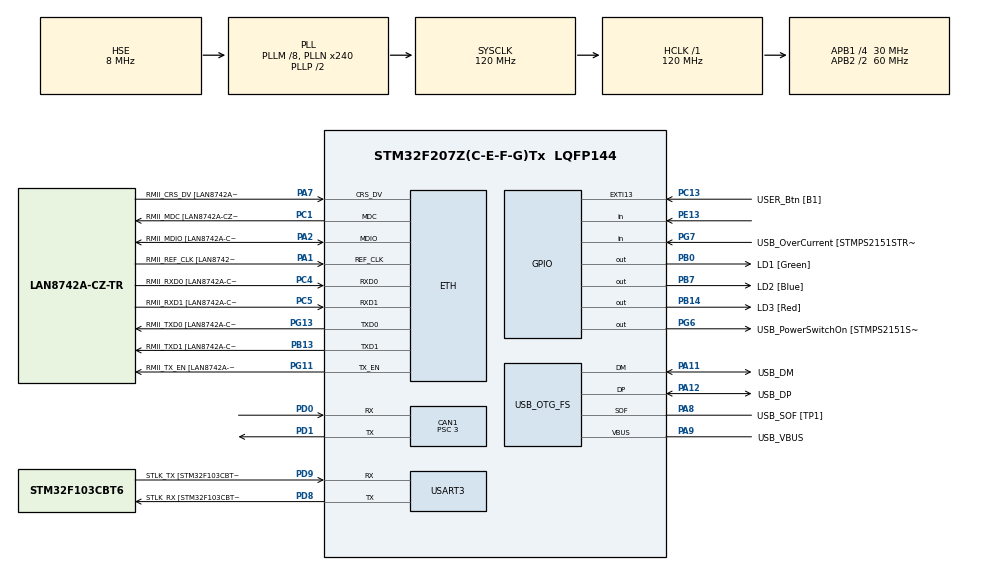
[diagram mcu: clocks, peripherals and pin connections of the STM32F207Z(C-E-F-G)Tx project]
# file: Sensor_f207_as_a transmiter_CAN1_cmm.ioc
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CAN1.ABOM=ENABLE
CAN1.BS1=CAN_BS1_16TQ
CAN1.BS2=CAN_BS2_3TQ
CAN1.CalculateBaudRate=500000
CAN1.CalculateTimeBit=2000
CAN1.CalculateTimeQuantum=100.0
CAN1.NART=ENABLE
CAN1.Prescaler=3
ETH.MediaInterface=ETH_MEDIA_INTERFACE_RMII
ETH.PHY_Name=LAN8742A_PHY_ADDRESS
ETH.PHY_Value=0
ETH.PhyAddress=0
Mcu.Family=STM32F2
Mcu.Name=STM32F207Z(C-E-F-G)Tx
Mcu.Package=LQFP144
NVIC.CAN1_TX_IRQn=true\:0\:0\:false\:false\:true\:true\:true\:true
NVIC.PriorityGroup=NVIC_PRIORITYGROUP_4
PA1.GPIO_Label=RMII_REF_CLK [LAN8742A-CZ-TR_REFCLK0]
PA1.Mode=RMII
PA1.Signal=ETH_REF_CLK
PA10.GPIO_Label=USB_ID
PA10.Signal=USB_OTG_FS_ID
PA11.GPIO_Label=USB_DM
PA11.Mode=Device_Only
PA11.Signal=USB_OTG_FS_DM
PA12.GPIO_Label=USB_DP
PA12.Mode=Device_Only
PA12.Signal=USB_OTG_FS_DP
PA13.GPIO_Label=TMS
PA13.Mode=Serial_Wire
PA13.Signal=SYS_JTMS-SWDIO
PA14.GPIO_Label=TCK
PA14.Mode=Serial_Wire
PA14.Signal=SYS_JTCK-SWCLK
PA2.GPIO_Label=RMII_MDIO [LAN8742A-CZ-TR_MDIO]
PA2.Mode=RMII
PA2.Signal=ETH_MDIO
PA7.GPIO_Label=RMII_CRS_DV [LAN8742A-CZ-TR_CRS_DV]
PA7.Mode=RMII
PA7.Signal=ETH_CRS_DV
PA8.GPIO_Label=USB_SOF [TP1]
PA8.Mode=Activate_SOF_FS
PA8.Signal=USB_OTG_FS_SOF
PA9.GPIO_Label=USB_VBUS
PA9.Mode=Activate_VBUS
PA9.Signal=USB_OTG_FS_VBUS
PB0.GPIO_Label=LD1 [Green]
PB0.Signal=GPIO_Output
PB13.GPIO_Label=RMII_TXD1 [LAN8742A-CZ-TR_TXD1]
PB13.Mode=RMII
PB13.Signal=ETH_TXD1
PB14.GPIO_Label=LD3 [Red]
PB14.Signal=GPIO_Output
PB3.GPIO_Label=SWO
PB3.Signal=SYS_JTDO-SWO
PB7.GPIO_Label=LD2 [Blue]
PB7.Signal=GPIO_Output
PC1.GPIO_Label=RMII_MDC [LAN8742A-CZ-TR_MDC]
PC1.Mode=RMII
PC1.Signal=ETH_MDC
PC13.GPIO_Label=USER_Btn [B1]
PC13.Signal=GPXTI13
PC14-OSC32_IN.Mode=LSE-External-Oscillator
PC14-OSC32_IN.Signal=RCC_OSC32_IN
PC15-OSC32_OUT.Mode=LSE-External-Oscillator
PC15-OSC32_OUT.Signal=RCC_OSC32_OUT
PC4.GPIO_Label=RMII_RXD0 [LAN8742A-CZ-TR_RXD0]
PC4.Mode=RMII
PC4.Signal=ETH_RXD0
PC5.GPIO_Label=RMII_RXD1 [LAN8742A-CZ-TR_RXD1]
PC5.Mode=RMII
PC5.Signal=ETH_RXD1
PD0.Mode=CAN_Activate
PD0.Signal=CAN1_RX
PD1.Mode=CAN_Activate
PD1.Signal=CAN1_TX
PD8.GPIO_Label=STLK_RX [STM32F103CBT6_PA2]
PD8.Mode=Asynchronous
PD8.Signal=USART3_TX
PD9.GPIO_Label=STLK_TX [STM32F103CBT6_PA3]
PD9.Mode=Asynchronous
PD9.Signal=USART3_RX
PE13.GPIO_PuPd=GPIO_PULLUP
PE13.Signal=GPIO_Input
PG11.GPIO_Label=RMII_TX_EN [LAN8742A-CZ-TR_TXEN]
PG11.Mode=RMII
PG11.Signal=ETH_TX_EN
PG13.GPIO_Label=RMII_TXD0 [LAN8742A-CZ-TR_TXD0]
PG13.Mode=RMII
PG13.Signal=ETH_TXD0
PG6.GPIO_Label=USB_PowerSwitchOn [STMPS2151STR_EN]
PG6.Signal=GPIO_Output
PG7.GPIO_Label=USB_OverCurrent [STMPS2151STR_FAULT]
PG7.Signal=GPIO_Input
PH0-OSC_IN.GPIO_Label=MCO [STM32F103CBT6_PA8]
PH0-OSC_IN.Mode=HSE-External-Clock-Source
PH0-OSC_IN.Signal=RCC_OSC_IN
PH1-OSC_OUT.Mode=HSE-External-Clock-Source
PH1-OSC_OUT.Signal=RCC_OSC_OUT
ProjectManager.HeapSize=0x200
ProjectManager.StackSize=0x400
ProjectManager.TargetToolchain=STM32CubeIDE
RCC.48MHZClocksFreq_Value=48000000
RCC.AHBFreq_Value=120000000
RCC.APB1CLKDivider=RCC_HCLK_DIV4
RCC.APB1Freq_Value=30000000
RCC.APB1TimFreq_Value=60000000
RCC.APB2CLKDivider=RCC_HCLK_DIV2
RCC.APB2Freq_Value=60000000
RCC.APB2TimFreq_Value=120000000
RCC.CortexFreq_Value=120000000
RCC.HCLKFreq_Value=120000000
RCC.HSE_VALUE=8000000
RCC.HSI_VALUE=16000000
RCC.PLLM=8
RCC.PLLMUL=RCC_PLL_MUL9
RCC.PLLN=240
RCC.PLLQ=5
RCC.PLLSourceVirtual=RCC_PLLSOURCE_HSE
RCC.PRESCALERUSB=RCC_USBCLKSOURCE_PLL_DIV1_5
RCC.SYSCLKFreq_VALUE=120000000
RCC.SYSCLKSource=RCC_SYSCLKSOURCE_PLLCLK
RCC.SYSCLKSourceVirtual=RCC_SYSCLKSOURCE_PLLCLK
RCC.USBFreq_Value=48000000
RCC.VCOOutputFreq_Value=240000000
TIM3.Prescaler=59
USART3.VirtualMode=VM_ASYNC
USB_OTG_FS.VirtualMode=Device_Only
VP_TIM3_VS_ClockSourceINT.Mode=Internal
board=NUCLEO-F207ZG

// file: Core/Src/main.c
/* USER CODE BEGIN Header */
/**
  ******************************************************************************
  * @file           : main.c
  * @brief          : Main program body
  ******************************************************************************
  * @attention
  *
  * Copyright (c) 2026 STMicroelectronics.
  * All rights reserved.
  *
  * This software is licensed under terms that can be found in the LICENSE file
  * in the root directory of this software component.
  * If no LICENSE file comes with this software, it is provided AS-IS.
  *
  ******************************************************************************
  */
/* USER CODE END Header */
#include "main.h"

/* USER CODE BEGIN Includes */
#include <stdio.h>
#include <string.h>
/* USER CODE END Includes */

/* USER CODE BEGIN PD */
#define Sensor_data_Pin GPIO_PIN_13
#define Sensor_data_GPIO_Port GPIOE

/* USER CODE END PD */

CAN_HandleTypeDef hcan1;

ETH_HandleTypeDef heth;

TIM_HandleTypeDef htim3;

UART_HandleTypeDef huart3;

PCD_HandleTypeDef hpcd_USB_OTG_FS;

void SystemClock_Config(void);
static void MX_GPIO_Init(void);
static void MX_ETH_Init(void);
static void MX_USART3_UART_Init(void);
static void MX_USB_OTG_FS_PCD_Init(void);
static void MX_CAN1_Init(void);
static void MX_TIM3_Init(void);

/* USER CODE BEGIN 0 */

uint8_t dht_data[5];
float temperature = 0;
float humidity = 0;
int16_t temp=0;
int16_t hum=0;
uint8_t TxData[4];

void delay_us(uint16_t us)
{
    __HAL_TIM_SET_COUNTER(&htim3, 0);
    while (__HAL_TIM_GET_COUNTER(&htim3) < us);
}

/* ---- Change PE13 Mode ---- */
void Set_Pin_Output(void)
{
    GPIO_InitTypeDef GPIO_InitStruct = {0};
    GPIO_InitStruct.Pin = Sensor_data_Pin;
    GPIO_InitStruct.Mode = GPIO_MODE_OUTPUT_OD;   // Open Drain
    GPIO_InitStruct.Pull = GPIO_NOPULL;           // IMPORTANT
    GPIO_InitStruct.Speed = GPIO_SPEED_FREQ_LOW;
    HAL_GPIO_Init(Sensor_data_GPIO_Port, &GPIO_InitStruct);
}

void Set_Pin_Input(void)
{
    GPIO_InitTypeDef GPIO_InitStruct = {0};
    GPIO_InitStruct.Pin = Sensor_data_Pin;
    GPIO_InitStruct.Mode = GPIO_MODE_INPUT;
    GPIO_InitStruct.Pull =   GPIO_NOPULL;
    HAL_GPIO_Init(Sensor_data_GPIO_Port, &GPIO_InitStruct);
}

/* ---- DHT22 Start ---- */
uint8_t DHT22_Start(void)
{
    uint8_t response = 0;
    uint32_t timeout;

    /* MCU pulls line LOW for 1-2ms */
    Set_Pin_Output();
    HAL_GPIO_WritePin(GPIOE, Sensor_data_Pin, GPIO_PIN_RESET);
    HAL_Delay(2);

    /* Release line */
    HAL_GPIO_WritePin(GPIOE, Sensor_data_Pin, GPIO_PIN_SET);
    delay_us(40);

    Set_Pin_Input();

    /* 1️⃣ Wait for sensor to pull LOW */
    timeout = 100000;
    while (HAL_GPIO_ReadPin(GPIOE, Sensor_data_Pin))
    {
        if (--timeout == 0) return 0;
    }

    /* 2️⃣ Wait for sensor to pull HIGH */
    timeout = 100000;
    while (!HAL_GPIO_ReadPin(GPIOE, Sensor_data_Pin))
    {
        if (--timeout == 0) return 0;
    }

    response = 1;

    return response;
}

/* ---- Read Byte ---- */
uint8_t DHT22_Read(void)
{
    uint8_t i, result = 0;
    uint32_t width;
    uint32_t timeout;

    for (i = 0; i < 8; i++)
    {
        /* Wait for LOW */
        timeout = 100000;
        while (HAL_GPIO_ReadPin(Sensor_data_GPIO_Port, Sensor_data_Pin))
        {
            if (--timeout == 0) return 0;
        }

        /* Wait for HIGH */
        timeout = 100000;
        while (!HAL_GPIO_ReadPin(Sensor_data_GPIO_Port, Sensor_data_Pin))
        {
            if (--timeout == 0) return 0;
        }

        /* Measure HIGH width */
        __HAL_TIM_SET_COUNTER(&htim3, 0);

        timeout = 100000;
        while (HAL_GPIO_ReadPin(Sensor_data_GPIO_Port, Sensor_data_Pin))
        {
            if (--timeout == 0) break;
        }

        width = __HAL_TIM_GET_COUNTER(&htim3);

        if (width > 40)   // threshold
        {
            result |= (1 << (7 - i));
        }
    }

    return result;
}
/* USER CODE END 0 */

int main(void)
{

  /* MCU Configuration--------------------------------------------------------*/

  /* Reset of all peripherals, Initializes the Flash interface and the Systick. */
  HAL_Init();

  /* Configure the system clock */
  SystemClock_Config();

  /* Initialize all configured peripherals */
  MX_GPIO_Init();
  //MX_ETH_Init();
  MX_USART3_UART_Init();
  MX_USB_OTG_FS_PCD_Init();
  MX_CAN1_Init();
  MX_TIM3_Init();
  /* USER CODE BEGIN 2 */

  HAL_TIM_Base_Start(&htim3);

  HAL_UART_Transmit(&huart3,
                    (uint8_t*)"UART Working\r\n",
                    15,
                    100);

  /* Configure CAN Filter */
  CAN_FilterTypeDef filter;

  filter.FilterBank = 0;
  filter.FilterMode = CAN_FILTERMODE_IDMASK;
  filter.FilterScale = CAN_FILTERSCALE_32BIT;
  filter.FilterIdHigh = 0x0000;
  filter.FilterIdLow = 0x0000;
  filter.FilterMaskIdHigh = 0x0000;
  filter.FilterMaskIdLow = 0x0000;
  filter.FilterFIFOAssignment = CAN_FILTER_FIFO0;
  filter.FilterActivation = ENABLE;

  HAL_CAN_ConfigFilter(&hcan1, &filter);

  HAL_CAN_Start(&hcan1);     // start CAN

  HAL_CAN_ActivateNotification(&hcan1,
      CAN_IT_TX_MAILBOX_EMPTY);

  /* USER CODE END 2 */

  /* Infinite loop */
  while (1)
  {

    /* USER CODE BEGIN 3 */

	  if (DHT22_Start())
	      {

		  HAL_UART_Transmit(&huart3,
		  (uint8_t*)"Start OK\r\n", 10, 100);

	          for (int i = 0; i < 5; i++)
	              dht_data[i] = DHT22_Read();

	          /* ===== ADD DEBUG PRINT HERE ===== */

	          char debugBuf[100];

	          sprintf(debugBuf,
	                  "RAW: %d %d %d %d %d\r\n",
	                  dht_data[0],
	                  dht_data[1],
	                  dht_data[2],
	                  dht_data[3],
	                  dht_data[4]);

	          HAL_UART_Transmit(&huart3,
	                            (uint8_t*)debugBuf,
	                            strlen(debugBuf),
	                            100);

	          /* CHECKSUM VALIDATION */
	          uint8_t sum = dht_data[0] + dht_data[1] + dht_data[2] + dht_data[3];

	          	  if (dht_data[4] == sum)

	             {
	                 humidity = ((dht_data[0] << 8) | dht_data[1]) * 0.1;
	                 temperature = ((dht_data[2] << 8) | dht_data[3]) * 0.1;
	             }
	             else
	             {
	                 HAL_UART_Transmit(&huart3,
	                     (uint8_t*)"Checksum Error\r\n", 16, 100);
	             }

	          /* ---- ADD THIS UART PRINT BLOCK HERE ---- */

	          char uartBuffer[60];

	          sprintf(uartBuffer, "Temp = %.1f C  |  Hum = %.1f %%\r\n",
	                  temperature, humidity);

	          HAL_UART_Transmit(&huart3,
	                            (uint8_t*)uartBuffer,
	                            strlen(uartBuffer),
	                            100);

	          /* ---- Send via CAN ---- */
	          /* -------- Send Temperature -------- */

	              CAN_TxHeaderTypeDef TxHeader;
	              uint32_t TxMailbox;
	              //uint8_t TxData[4];

	              TxHeader.StdId = 0x123;
	              TxHeader.IDE = CAN_ID_STD;
	              TxHeader.RTR = CAN_RTR_DATA;
	              TxHeader.DLC = 4;
	              TxHeader.TransmitGlobalTime = DISABLE;

	              temp = temperature * 10;
	              hum  = humidity * 10;

	              TxData[0] = temp >> 8;
	              TxData[1] = temp;
	              TxData[2] = hum >> 8;
	              TxData[3] = hum;

	              if (HAL_CAN_GetTxMailboxesFreeLevel(&hcan1) > 0)
	              {
	                  HAL_CAN_AddTxMessage(&hcan1, &TxHeader, TxData, &TxMailbox);
	              }

	      HAL_Delay(5000);   // DHT22 requires 2 sec delay
	      }
	  else
	  	  {
	  	      HAL_UART_Transmit(&huart3,
	  	          (uint8_t*)"Start FAIL\r\n", 12, 100);
	  	  }
  }
  /* USER CODE END 3 */
}

void SystemClock_Config(void)
{
  RCC_OscInitTypeDef RCC_OscInitStruct = {0};
  RCC_ClkInitTypeDef RCC_ClkInitStruct = {0};

  /** Initializes the RCC Oscillators according to the specified parameters
  * in the RCC_OscInitTypeDef structure.
  */
  RCC_OscInitStruct.OscillatorType = RCC_OSCILLATORTYPE_HSE;
  RCC_OscInitStruct.HSEState = RCC_HSE_BYPASS;
  RCC_OscInitStruct.PLL.PLLState = RCC_PLL_ON;
  RCC_OscInitStruct.PLL.PLLSource = RCC_PLLSOURCE_HSE;
  RCC_OscInitStruct.PLL.PLLM = 8;
  RCC_OscInitStruct.PLL.PLLN = 240;
  RCC_OscInitStruct.PLL.PLLP = RCC_PLLP_DIV2;
  RCC_OscInitStruct.PLL.PLLQ = 5;
  if (HAL_RCC_OscConfig(&RCC_OscInitStruct) != HAL_OK)
  {
    Error_Handler();
  }

  /** Initializes the CPU, AHB and APB buses clocks
  */
  RCC_ClkInitStruct.ClockType = RCC_CLOCKTYPE_HCLK|RCC_CLOCKTYPE_SYSCLK
                              |RCC_CLOCKTYPE_PCLK1|RCC_CLOCKTYPE_PCLK2;
  RCC_ClkInitStruct.SYSCLKSource = RCC_SYSCLKSOURCE_PLLCLK;
  RCC_ClkInitStruct.AHBCLKDivider = RCC_SYSCLK_DIV1;
  RCC_ClkInitStruct.APB1CLKDivider = RCC_HCLK_DIV4;
  RCC_ClkInitStruct.APB2CLKDivider = RCC_HCLK_DIV2;

  if (HAL_RCC_ClockConfig(&RCC_ClkInitStruct, FLASH_LATENCY_3) != HAL_OK)
  {
    Error_Handler();
  }
}

static void MX_CAN1_Init(void)
{

  hcan1.Instance = CAN1;
  hcan1.Init.Prescaler = 3;
  hcan1.Init.Mode = CAN_MODE_NORMAL;
  hcan1.Init.SyncJumpWidth = CAN_SJW_1TQ;
  hcan1.Init.TimeSeg1 = CAN_BS1_16TQ;
  hcan1.Init.TimeSeg2 = CAN_BS2_3TQ;
  hcan1.Init.TimeTriggeredMode = DISABLE;
  hcan1.Init.AutoBusOff = ENABLE;
  hcan1.Init.AutoWakeUp = DISABLE;
  hcan1.Init.AutoRetransmission = ENABLE;
  hcan1.Init.ReceiveFifoLocked = DISABLE;
  hcan1.Init.TransmitFifoPriority = DISABLE;
  if (HAL_CAN_Init(&hcan1) != HAL_OK)
  {
    Error_Handler();
  }

}

static void MX_ETH_Init(void)
{

   static uint8_t MACAddr[6];

  heth.Instance = ETH;
  heth.Init.AutoNegotiation = ETH_AUTONEGOTIATION_ENABLE;
  heth.Init.Speed = ETH_SPEED_100M;
  heth.Init.DuplexMode = ETH_MODE_FULLDUPLEX;
  heth.Init.PhyAddress = LAN8742A_PHY_ADDRESS;
  MACAddr[0] = 0x00;
  MACAddr[1] = 0x80;
  MACAddr[2] = 0xE1;
  MACAddr[3] = 0x00;
  MACAddr[4] = 0x00;
  MACAddr[5] = 0x00;
  heth.Init.MACAddr = &MACAddr[0];
  heth.Init.RxMode = ETH_RXPOLLING_MODE;
  heth.Init.ChecksumMode = ETH_CHECKSUM_BY_HARDWARE;
  heth.Init.MediaInterface = ETH_MEDIA_INTERFACE_RMII;

  if (HAL_ETH_Init(&heth) != HAL_OK)
  {
    Error_Handler();
  }

}

static void MX_TIM3_Init(void)
{

  TIM_ClockConfigTypeDef sClockSourceConfig = {0};
  TIM_MasterConfigTypeDef sMasterConfig = {0};

  htim3.Instance = TIM3;
  htim3.Init.Prescaler = 59;
  htim3.Init.CounterMode = TIM_COUNTERMODE_UP;
  htim3.Init.Period = 65535;
  htim3.Init.ClockDivision = TIM_CLOCKDIVISION_DIV1;
  htim3.Init.AutoReloadPreload = TIM_AUTORELOAD_PRELOAD_DISABLE;
  if (HAL_TIM_Base_Init(&htim3) != HAL_OK)
  {
    Error_Handler();
  }
  sClockSourceConfig.ClockSource = TIM_CLOCKSOURCE_INTERNAL;
  if (HAL_TIM_ConfigClockSource(&htim3, &sClockSourceConfig) != HAL_OK)
  {
    Error_Handler();
  }
  sMasterConfig.MasterOutputTrigger = TIM_TRGO_RESET;
  sMasterConfig.MasterSlaveMode = TIM_MASTERSLAVEMODE_DISABLE;
  if (HAL_TIMEx_MasterConfigSynchronization(&htim3, &sMasterConfig) != HAL_OK)
  {
    Error_Handler();
  }

}

static void MX_USART3_UART_Init(void)
{

  huart3.Instance = USART3;
  huart3.Init.BaudRate = 115200;
  huart3.Init.WordLength = UART_WORDLENGTH_8B;
  huart3.Init.StopBits = UART_STOPBITS_1;
  huart3.Init.Parity = UART_PARITY_NONE;
  huart3.Init.Mode = UART_MODE_TX_RX;
  huart3.Init.HwFlowCtl = UART_HWCONTROL_NONE;
  huart3.Init.OverSampling = UART_OVERSAMPLING_16;
  if (HAL_UART_Init(&huart3) != HAL_OK)
  {
    Error_Handler();
  }

}

static void MX_USB_OTG_FS_PCD_Init(void)
{

  hpcd_USB_OTG_FS.Instance = USB_OTG_FS;
  hpcd_USB_OTG_FS.Init.dev_endpoints = 4;
  hpcd_USB_OTG_FS.Init.speed = PCD_SPEED_FULL;
  hpcd_USB_OTG_FS.Init.dma_enable = DISABLE;
  hpcd_USB_OTG_FS.Init.phy_itface = PCD_PHY_EMBEDDED;
  hpcd_USB_OTG_FS.Init.Sof_enable = ENABLE;
  hpcd_USB_OTG_FS.Init.low_power_enable = DISABLE;
  hpcd_USB_OTG_FS.Init.vbus_sensing_enable = ENABLE;
  hpcd_USB_OTG_FS.Init.use_dedicated_ep1 = DISABLE;
  if (HAL_PCD_Init(&hpcd_USB_OTG_FS) != HAL_OK)
  {
    Error_Handler();
  }

}

static void MX_GPIO_Init(void)
{
  GPIO_InitTypeDef GPIO_InitStruct = {0};

  /* GPIO Ports Clock Enable */
  __HAL_RCC_GPIOC_CLK_ENABLE();
  __HAL_RCC_GPIOH_CLK_ENABLE();
  __HAL_RCC_GPIOA_CLK_ENABLE();
  __HAL_RCC_GPIOB_CLK_ENABLE();
  __HAL_RCC_GPIOE_CLK_ENABLE();
  __HAL_RCC_GPIOD_CLK_ENABLE();
  __HAL_RCC_GPIOG_CLK_ENABLE();

  /*Configure GPIO pin Output Level */
  HAL_GPIO_WritePin(GPIOB, LD1_Pin|LD3_Pin|LD2_Pin, GPIO_PIN_RESET);

  /*Configure GPIO pin Output Level */
  HAL_GPIO_WritePin(USB_PowerSwitchOn_GPIO_Port, USB_PowerSwitchOn_Pin, GPIO_PIN_RESET);

  /*Configure GPIO pin : USER_Btn_Pin */
  GPIO_InitStruct.Pin = USER_Btn_Pin;
  GPIO_InitStruct.Mode = GPIO_MODE_IT_RISING;
  GPIO_InitStruct.Pull = GPIO_NOPULL;
  HAL_GPIO_Init(USER_Btn_GPIO_Port, &GPIO_InitStruct);

  /*Configure GPIO pins : LD1_Pin LD3_Pin LD2_Pin */
  GPIO_InitStruct.Pin = LD1_Pin|LD3_Pin|LD2_Pin;
  GPIO_InitStruct.Mode = GPIO_MODE_OUTPUT_PP;
  GPIO_InitStruct.Pull = GPIO_NOPULL;
  GPIO_InitStruct.Speed = GPIO_SPEED_FREQ_LOW;
  HAL_GPIO_Init(GPIOB, &GPIO_InitStruct);

  /*Configure GPIO pin : PE13 */
  GPIO_InitStruct.Pin = GPIO_PIN_13;
  GPIO_InitStruct.Mode = GPIO_MODE_INPUT;
  GPIO_InitStruct.Pull = GPIO_PULLUP;
  HAL_GPIO_Init(GPIOE, &GPIO_InitStruct);

  /*Configure GPIO pin : USB_PowerSwitchOn_Pin */
  GPIO_InitStruct.Pin = USB_PowerSwitchOn_Pin;
  GPIO_InitStruct.Mode = GPIO_MODE_OUTPUT_PP;
  GPIO_InitStruct.Pull = GPIO_NOPULL;
  GPIO_InitStruct.Speed = GPIO_SPEED_FREQ_LOW;
  HAL_GPIO_Init(USB_PowerSwitchOn_GPIO_Port, &GPIO_InitStruct);

  /*Configure GPIO pin : USB_OverCurrent_Pin */
  GPIO_InitStruct.Pin = USB_OverCurrent_Pin;
  GPIO_InitStruct.Mode = GPIO_MODE_INPUT;
  GPIO_InitStruct.Pull = GPIO_NOPULL;
  HAL_GPIO_Init(USB_OverCurrent_GPIO_Port, &GPIO_InitStruct);

}

/* USER CODE BEGIN 4 */

void HAL_CAN_TxMailbox0CompleteCallback(CAN_HandleTypeDef *hcan)
{
    HAL_GPIO_TogglePin(GPIOB, LD2_Pin);   // Toggle LED when sent
}
/* USER CODE END 4 */

void Error_Handler(void)
{
  __disable_irq();
  while (1)
  {
  }
}
